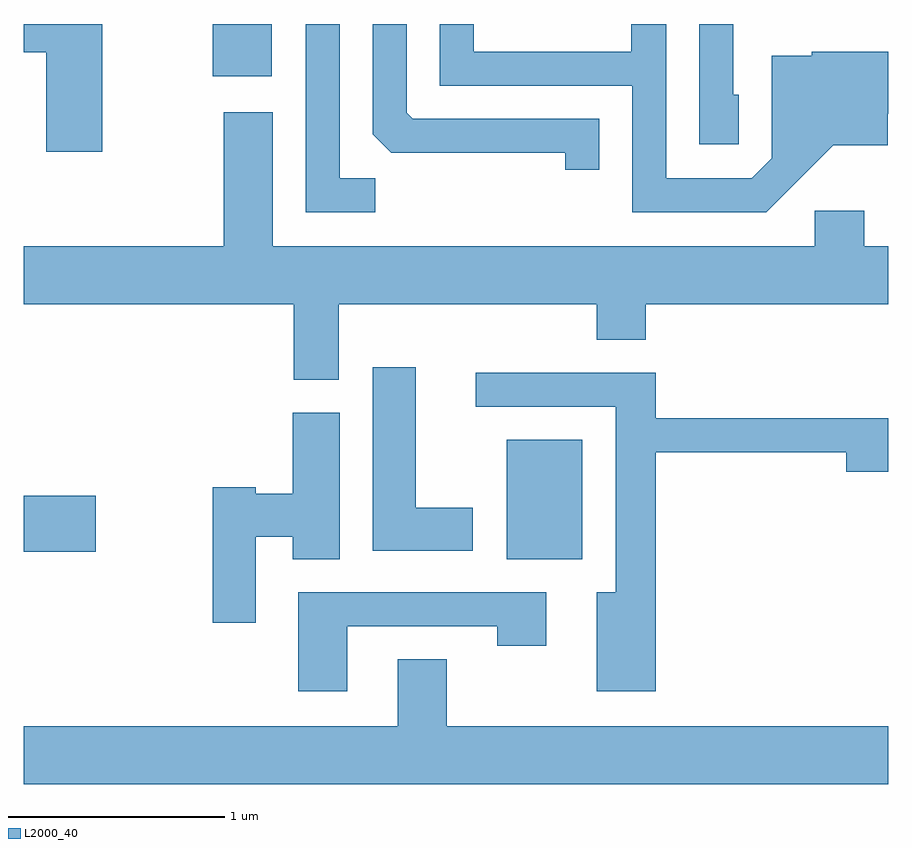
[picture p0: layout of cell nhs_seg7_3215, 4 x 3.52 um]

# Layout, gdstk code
import gdstk
lib = gdstk.Library(unit=1e-6, precision=1e-09)
def R(c, l, rs):  # rectangles x0, y0, x1, y1
    for r in rs: c.add(gdstk.rectangle(r[:2], r[2:], *l))
def P(c, l, *ps):  # polygons
    for p in ps: c.add(gdstk.Polygon(p, *l))
L2000_40 = (2000, 40)

nhs_seg7_3215 = lib.new_cell('nhs_seg7_3215')
R(nhs_seg7_3215, L2000_40, [(285.846,1739.776,286.194,1740.329), (283.611,1739.811,283.944,1740.069), (284.486,1742.011,284.759,1742.252)])
P(nhs_seg7_3215, L2000_40, [(285.238,1741.539),(285.074,1741.539),(285.074,1742.252),(284.916,1742.252),(284.916,1741.381),(285.238,1741.381)],
  [(287.357,1741.691),(287.609,1741.691),(287.609,1741.836),(287.611,1741.836),(287.611,1742.124),(287.256,1742.124),(287.256,1742.104),(287.071,1742.104),(287.071,1741.632),(286.979,1741.539),(286.584,1741.539),(286.584,1742.252),(286.421,1742.252),(286.421,1742.124),(285.694,1742.124),(285.694,1742.252),(285.536,1742.252),(285.536,1741.966),(286.426,1741.966),(286.426,1741.381),(287.047,1741.381)],
  [(283.974,1742.252),(283.611,1742.252),(283.611,1742.121),(283.716,1742.121),(283.716,1741.661),(283.974,1741.661)],
  [(286.274,1741.814),(285.412,1741.814),(285.384,1741.842),(285.384,1742.252),(285.226,1742.252),(285.226,1741.742),(285.312,1741.656),(286.116,1741.656),(286.116,1741.578),(286.274,1741.578)],
  [(286.919,1741.924),(286.894,1741.924),(286.894,1742.252),(286.736,1742.252),(286.736,1741.696),(286.919,1741.696)],
  [(285.069,1740.956),(286.261,1740.956),(286.261,1740.791),(286.489,1740.791),(286.489,1740.956),(287.611,1740.956),(287.611,1741.224),(287.499,1741.224),(287.499,1741.389),(287.271,1741.389),(287.271,1741.224),(284.764,1741.224),(284.764,1741.844),(284.536,1741.844),(284.536,1741.224),(283.611,1741.224),(283.611,1740.956),(284.861,1740.956),(284.861,1740.606),(285.069,1740.606)],
  [(285.689,1740.014),(285.424,1740.014),(285.424,1740.664),(285.226,1740.664),(285.226,1739.816),(285.689,1739.816)],
  [(286.534,1740.271),(287.416,1740.271),(287.416,1740.181),(287.611,1740.181),(287.611,1740.429),(286.534,1740.429),(286.534,1740.639),(285.703,1740.639),(285.703,1740.481),(286.351,1740.481),(286.351,1739.624),(286.261,1739.624),(286.261,1739.166),(286.534,1739.166)],
  [(284.684,1739.881),(284.856,1739.881),(284.856,1739.776),(285.074,1739.776),(285.074,1740.454),(284.856,1740.454),(284.856,1740.079),(284.684,1740.079),(284.684,1740.109),(284.486,1740.109),(284.486,1739.481),(284.684,1739.481)],
  [(285.109,1739.466),(285.801,1739.466),(285.801,1739.376),(286.029,1739.376),(286.029,1739.624),(284.881,1739.624),(284.881,1739.166),(285.109,1739.166)],
  [(287.611,1739.004),(285.569,1739.004),(285.569,1739.314),(285.341,1739.314),(285.341,1739.004),(283.611,1739.004),(283.611,1738.736),(287.611,1738.736)])

lib.write_gds('nhs_seg7_3215.gds')
